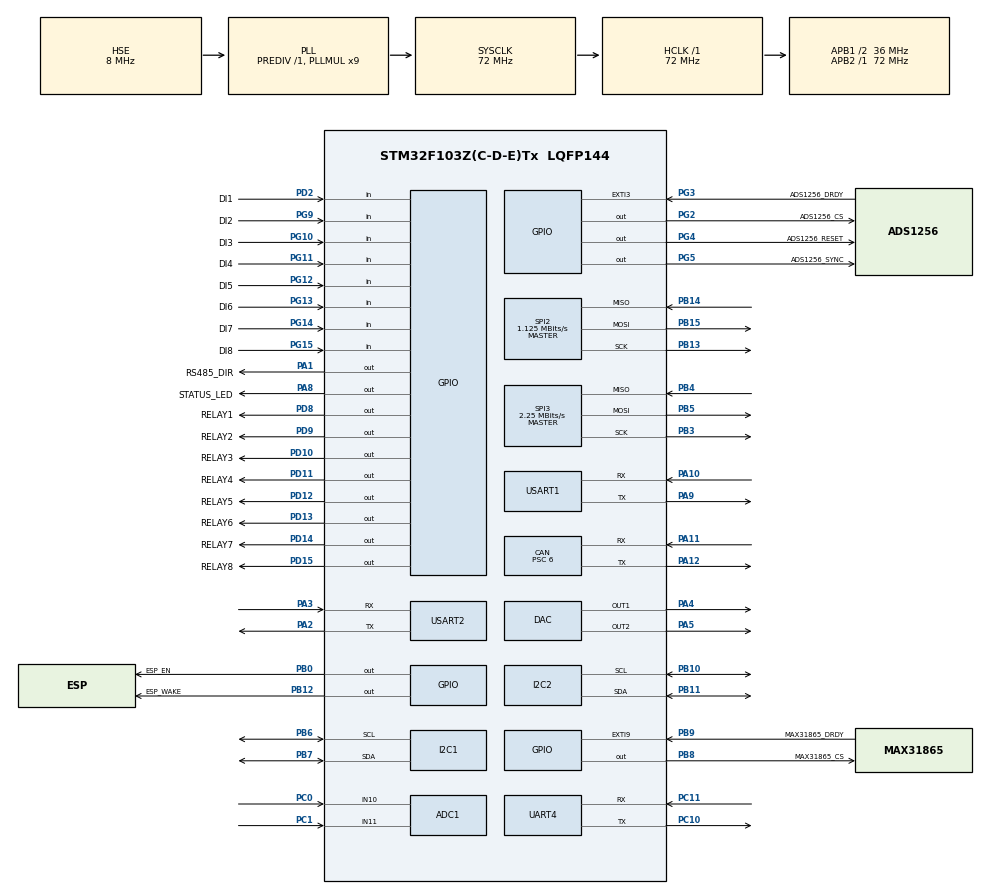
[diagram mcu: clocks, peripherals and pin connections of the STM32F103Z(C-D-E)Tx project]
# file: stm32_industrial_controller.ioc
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ADC1.Channel-0\#ChannelRegularConversion=ADC_CHANNEL_10
ADC1.Channel-1\#ChannelRegularConversion=ADC_CHANNEL_11
ADC1.ContinuousConvMode=ENABLE
ADC1.DiscontinuousConvMode=DISABLE
ADC1.NbrOfConversion=2
ADC1.NbrOfConversionFlag=1
ADC1.Rank-0\#ChannelRegularConversion=1
ADC1.Rank-1\#ChannelRegularConversion=2
ADC1.SamplingTime-0\#ChannelRegularConversion=ADC_SAMPLETIME_71CYCLES_5
ADC1.SamplingTime-1\#ChannelRegularConversion=ADC_SAMPLETIME_71CYCLES_5
ADC1.master=1
CAN.AutoRetransmission=ENABLE
CAN.BS1=CAN_BS1_9TQ
CAN.BS2=CAN_BS2_2TQ
CAN.CalculateBaudRate=499999
CAN.CalculateTimeBit=2000
CAN.CalculateTimeQuantum=166.66666666666669
CAN.Prescaler=6
CAN.SyncJumpWidth=CAN_SJW_1TQ
Dma.ADC1.0.Direction=DMA_PERIPH_TO_MEMORY
Dma.ADC1.0.Instance=DMA1_Channel1
Dma.ADC1.0.MemDataAlignment=DMA_MDATAALIGN_HALFWORD
Dma.ADC1.0.MemInc=DMA_MINC_ENABLE
Dma.ADC1.0.Mode=DMA_CIRCULAR
Dma.ADC1.0.PeriphDataAlignment=DMA_PDATAALIGN_HALFWORD
Dma.ADC1.0.PeriphInc=DMA_PINC_DISABLE
Dma.ADC1.0.Priority=DMA_PRIORITY_MEDIUM
Dma.Request0=ADC1
FREERTOS.Tasks01=appTask,24,256,StartAppTask,Default,NULL,Dynamic,NULL,NULL
IWDG.Prescaler=IWDG_PRESCALER_64
IWDG.Reload=2500
Mcu.Family=STM32F1
Mcu.Name=STM32F103Z(C-D-E)Tx
Mcu.Package=LQFP144
NVIC.CAN1_RX0_IRQn=true\:5\:0\:true\:false\:true\:true\:true\:true\:true
NVIC.DMA1_Channel1_IRQn=true\:5\:0\:false\:false\:true\:true\:false\:true\:true
NVIC.EXTI3_IRQn=true\:5\:0\:true\:false\:true\:true\:true\:true\:true
NVIC.EXTI9_5_IRQn=true\:5\:0\:true\:false\:true\:true\:true\:true\:true
NVIC.PriorityGroup=NVIC_PRIORITYGROUP_4
NVIC.TIM6_IRQn=true\:15\:0\:false\:false\:true\:false\:false\:true\:true
NVIC.TimeBase=TIM6_IRQn
NVIC.TimeBaseIP=TIM6
NVIC.UART4_IRQn=true\:5\:0\:true\:false\:true\:true\:true\:true\:true
NVIC.USART1_IRQn=true\:5\:0\:true\:false\:true\:true\:true\:true\:true
OSC_IN.Mode=HSE-External-Oscillator
OSC_IN.Signal=RCC_OSC_IN
OSC_OUT.Mode=HSE-External-Oscillator
OSC_OUT.Signal=RCC_OSC_OUT
PA1.GPIO_Label=RS485_DIR
PA1.GPIO_Speed=GPIO_SPEED_FREQ_HIGH
PA1.Signal=GPIO_Output
PA10.Mode=Asynchronous
PA10.Signal=USART1_RX
PA11.Mode=CAN_Activate
PA11.Signal=CAN_RX
PA12.Mode=CAN_Activate
PA12.Signal=CAN_TX
PA13.Mode=Serial_Wire
PA13.Signal=SYS_JTMS-SWDIO
PA14.Mode=Serial_Wire
PA14.Signal=SYS_JTCK-SWCLK
PA2.Mode=Asynchronous
PA2.Signal=USART2_TX
PA3.Mode=Asynchronous
PA3.Signal=USART2_RX
PA4.Signal=COMP_DAC1_group
PA5.Signal=COMP_DAC2_group
PA8.GPIO_Label=STATUS_LED
PA8.GPIO_Speed=GPIO_SPEED_FREQ_HIGH
PA8.Signal=GPIO_Output
PA9.Mode=Asynchronous
PA9.Signal=USART1_TX
PB0.GPIO_Label=ESP_EN
PB0.GPIO_Speed=GPIO_SPEED_FREQ_HIGH
PB0.PinState=GPIO_PIN_SET
PB0.Signal=GPIO_Output
PB10.Mode=I2C
PB10.Signal=I2C2_SCL
PB11.Mode=I2C
PB11.Signal=I2C2_SDA
PB12.GPIO_Label=ESP_WAKE
PB12.GPIO_Speed=GPIO_SPEED_FREQ_HIGH
PB12.Signal=GPIO_Output
PB13.Mode=Full_Duplex_Master
PB13.Signal=SPI2_SCK
PB14.Mode=Full_Duplex_Master
PB14.Signal=SPI2_MISO
PB15.Mode=Full_Duplex_Master
PB15.Signal=SPI2_MOSI
PB3.Mode=Full_Duplex_Master
PB3.Signal=SPI3_SCK
PB4.Mode=Full_Duplex_Master
PB4.Signal=SPI3_MISO
PB5.Mode=Full_Duplex_Master
PB5.Signal=SPI3_MOSI
PB6.Mode=I2C
PB6.Signal=I2C1_SCL
PB7.Mode=I2C
PB7.Signal=I2C1_SDA
PB8.GPIO_Label=MAX31865_CS
PB8.GPIO_Speed=GPIO_SPEED_FREQ_HIGH
PB8.PinState=GPIO_PIN_SET
PB8.Signal=GPIO_Output
PB9.GPIO_Label=MAX31865_DRDY
PB9.GPIO_ModeDefaultEXTI=GPIO_MODE_IT_FALLING
PB9.GPIO_PuPd=GPIO_PULLUP
PB9.Signal=GPXTI9
PC0.Signal=ADCx_IN10
PC1.Signal=ADCx_IN11
PC10.Mode=Asynchronous
PC10.Signal=UART4_TX
PC11.Mode=Asynchronous
PC11.Signal=UART4_RX
PC14-OSC32_IN.Mode=LSE-External-Oscillator
PC14-OSC32_IN.Signal=RCC_OSC32_IN
PC15-OSC32_OUT.Mode=LSE-External-Oscillator
PC15-OSC32_OUT.Signal=RCC_OSC32_OUT
PD10.GPIO_Label=RELAY3
PD10.GPIO_Speed=GPIO_SPEED_FREQ_HIGH
PD10.Signal=GPIO_Output
PD11.GPIO_Label=RELAY4
PD11.GPIO_Speed=GPIO_SPEED_FREQ_HIGH
PD11.Signal=GPIO_Output
PD12.GPIO_Label=RELAY5
PD12.GPIO_Speed=GPIO_SPEED_FREQ_HIGH
PD12.Signal=GPIO_Output
PD13.GPIO_Label=RELAY6
PD13.GPIO_Speed=GPIO_SPEED_FREQ_HIGH
PD13.Signal=GPIO_Output
PD14.GPIO_Label=RELAY7
PD14.GPIO_Speed=GPIO_SPEED_FREQ_HIGH
PD14.Signal=GPIO_Output
PD15.GPIO_Label=RELAY8
PD15.GPIO_Speed=GPIO_SPEED_FREQ_HIGH
PD15.Signal=GPIO_Output
PD2.GPIO_Label=DI1
PD2.GPIO_PuPd=GPIO_PULLUP
PD2.Signal=GPIO_Input
PD8.GPIO_Label=RELAY1
PD8.GPIO_Speed=GPIO_SPEED_FREQ_HIGH
PD8.Signal=GPIO_Output
PD9.GPIO_Label=RELAY2
PD9.GPIO_Speed=GPIO_SPEED_FREQ_HIGH
PD9.Signal=GPIO_Output
PG10.GPIO_Label=DI3
PG10.GPIO_PuPd=GPIO_PULLUP
PG10.Signal=GPIO_Input
PG11.GPIO_Label=DI4
PG11.GPIO_PuPd=GPIO_PULLUP
PG11.Signal=GPIO_Input
PG12.GPIO_Label=DI5
PG12.GPIO_PuPd=GPIO_PULLUP
PG12.Signal=GPIO_Input
PG13.GPIO_Label=DI6
PG13.GPIO_PuPd=GPIO_PULLUP
PG13.Signal=GPIO_Input
PG14.GPIO_Label=DI7
PG14.GPIO_PuPd=GPIO_PULLUP
PG14.Signal=GPIO_Input
PG15.GPIO_Label=DI8
PG15.GPIO_PuPd=GPIO_PULLUP
PG15.Signal=GPIO_Input
PG2.GPIO_Label=ADS1256_CS
PG2.GPIO_Speed=GPIO_SPEED_FREQ_HIGH
PG2.PinState=GPIO_PIN_SET
PG2.Signal=GPIO_Output
PG3.GPIO_Label=ADS1256_DRDY
PG3.GPIO_ModeDefaultEXTI=GPIO_MODE_IT_FALLING
PG3.GPIO_PuPd=GPIO_PULLUP
PG3.Signal=GPXTI3
PG4.GPIO_Label=ADS1256_RESET
PG4.GPIO_Speed=GPIO_SPEED_FREQ_HIGH
PG4.PinState=GPIO_PIN_SET
PG4.Signal=GPIO_Output
PG5.GPIO_Label=ADS1256_SYNC
PG5.GPIO_Speed=GPIO_SPEED_FREQ_HIGH
PG5.PinState=GPIO_PIN_SET
PG5.Signal=GPIO_Output
PG9.GPIO_Label=DI2
PG9.GPIO_PuPd=GPIO_PULLUP
PG9.Signal=GPIO_Input
ProjectManager.HeapSize=0x200
ProjectManager.StackSize=0x400
ProjectManager.TargetToolchain=MDK-ARM V5
RCC.ADCPresc=RCC_ADCPCLK2_DIV6
RCC.AHBFreq_Value=72000000
RCC.APB1CLKDivider=RCC_HCLK_DIV2
RCC.APB1Freq_Value=36000000
RCC.APB1TimFreq_Value=72000000
RCC.APB2Freq_Value=72000000
RCC.APB2TimFreq_Value=72000000
RCC.HCLKFreq_Value=72000000
RCC.PLLMUL=RCC_PLL_MUL9
RCC.PLLSourceVirtual=RCC_PLLSOURCE_HSE
RCC.SYSCLKFreq_VALUE=72000000
RCC.SYSCLKSource=RCC_SYSCLKSOURCE_PLLCLK
RCC.USBFreq_Value=72000000
SH.ADCx_IN10.0=ADC1_IN10,IN10
SH.ADCx_IN11.0=ADC1_IN11,IN11
SH.COMP_DAC1_group.0=DAC_OUT1,DAC_OUT1
SH.COMP_DAC2_group.0=DAC_OUT2,DAC_OUT2
SPI2.BaudRatePrescaler=SPI_BAUDRATEPRESCALER_32
SPI2.CalculateBaudRate=1.125 MBits/s
SPI2.Direction=SPI_DIRECTION_2LINES
SPI2.Mode=SPI_MODE_MASTER
SPI2.VirtualType=VM_MASTER
SPI3.BaudRatePrescaler=SPI_BAUDRATEPRESCALER_16
SPI3.CalculateBaudRate=2.25 MBits/s
SPI3.Direction=SPI_DIRECTION_2LINES
SPI3.Mode=SPI_MODE_MASTER
SPI3.VirtualType=VM_MASTER
UART4.VirtualMode=Asynchronous
USART1.RxDMA=USART1_RX
USART1.VirtualMode=VM_ASYNC
USART2.VirtualMode=VM_ASYNC
VP_FREERTOS_VS_CMSIS_V2.Mode=CMSIS_V2
VP_SYS_VS_tim6.Mode=TIM6
board=custom

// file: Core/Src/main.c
/* USER CODE BEGIN Header */
/**
  ******************************************************************************
  * @file           : main.c
  * @brief          : Main program body
  ******************************************************************************
  * @attention
  *
  * Copyright (c) 2026 STMicroelectronics.
  * All rights reserved.
  *
  * This software is licensed under terms that can be found in the LICENSE file
  * in the root directory of this software component.
  * If no LICENSE file comes with this software, it is provided AS-IS.
  *
  ******************************************************************************
  */
/* USER CODE END Header */
#include "main.h"
#include "cmsis_os.h"
#include "adc.h"
#include "can.h"
#include "dac.h"
#include "dma.h"
#include "i2c.h"
#include "spi.h"
#include "usart.h"
#include "gpio.h"
#include "stm32f1xx_hal_iwdg.h"

/* USER CODE BEGIN Includes */
#if defined(UART4_VALIDATION) || defined(UART1_VALIDATION)
#include <string.h>
#endif
/* USER CODE END Includes */

IWDG_HandleTypeDef hiwdg;

void SystemClock_Config(void);
void MX_FREERTOS_Init(void);
#if !defined(UART4_VALIDATION) && !defined(UART1_VALIDATION)
static void MX_IWDG_Init(void);
#endif

#if defined(UART4_VALIDATION) || defined(UART1_VALIDATION)
static void ValidationWrite(const char *text)
{
  if (text != 0)
  {
#ifdef UART4_VALIDATION
    (void)HAL_UART_Transmit(&huart4,
                            (uint8_t *)text,
                            (uint16_t)strlen(text),
                            100U);
#else
    (void)HAL_UART_Transmit(&huart1,
                            (uint8_t *)text,
                            (uint16_t)strlen(text),
                            100U);
#endif
  }
}
#endif

int main(void)
{
#if defined(UART4_VALIDATION) || defined(UART1_VALIDATION)
  char line[64];
  uint16_t line_length = 0U;
  uint32_t last_alive_tick = 0U;

  HAL_Init();
  SystemClock_Config();
  MX_GPIO_Init();
#ifdef UART4_VALIDATION
  MX_UART4_Init();
  MX_USART1_UART_Init();
#else
  MX_USART1_UART_Init();
#endif

#ifdef UART4_VALIDATION
  ValidationWrite("\r\nSTM32 UART4 validation\r\n");
#else
  ValidationWrite("\r\nSTM32 USART1 validation\r\n");
#endif

  for (;;)
  {
    uint8_t byte;

#ifdef UART4_VALIDATION
    if (HAL_UART_Receive(&huart4, &byte, 1U, 10U) == HAL_OK)
#else
    if (HAL_UART_Receive(&huart1, &byte, 1U, 10U) == HAL_OK)
#endif
    {
      if ((byte == '\r') || (byte == '\n'))
      {
        if (line_length > 0U)
        {
          line[line_length] = '\0';
          if (strcmp(line, "PING") == 0)
          {
            ValidationWrite("PONG\r\n");
          }
          line_length = 0U;
        }
      }
      else if (line_length < (sizeof(line) - 1U))
      {
        line[line_length++] = (char)byte;
      }
    }

    if ((HAL_GetTick() - last_alive_tick) >= 1000U)
    {
      last_alive_tick = HAL_GetTick();
      ValidationWrite("STM32_ALIVE\r\n");
      HAL_GPIO_TogglePin(STATUS_LED_GPIO_Port, STATUS_LED_Pin);
    }
  }
#else

  /* MCU Configuration--------------------------------------------------------*/

  /* Reset of all peripherals, Initializes the Flash interface and the Systick. */
  HAL_Init();

  /* Configure the system clock */
  SystemClock_Config();

  /* Initialize all configured peripherals */
  MX_GPIO_Init();
  MX_DMA_Init();
  MX_ADC1_Init();
  MX_CAN_Init();
  MX_DAC_Init();
  MX_I2C1_Init();
  MX_I2C2_Init();
  MX_SPI2_Init();
  MX_SPI3_Init();
  MX_UART4_Init();
  MX_USART1_UART_Init();
  MX_USART2_UART_Init();
  MX_IWDG_Init();

  /* Init scheduler */
  osKernelInitialize();

  /* Call init function for freertos objects (in freertos.c) */
  MX_FREERTOS_Init();

  /* Start scheduler */
  osKernelStart();

  /* We should never get here as control is now taken by the scheduler */
  /* Infinite loop */
  while (1)
  {

  }
#endif
}

void SystemClock_Config(void)
{
  RCC_OscInitTypeDef RCC_OscInitStruct = {0};
  RCC_ClkInitTypeDef RCC_ClkInitStruct = {0};
  RCC_PeriphCLKInitTypeDef PeriphClkInit = {0};

  /** Initializes the RCC Oscillators according to the specified parameters
  * in the RCC_OscInitTypeDef structure.
  */
  RCC_OscInitStruct.OscillatorType = RCC_OSCILLATORTYPE_HSE;
  RCC_OscInitStruct.HSEState = RCC_HSE_ON;
  RCC_OscInitStruct.HSEPredivValue = RCC_HSE_PREDIV_DIV1;
  RCC_OscInitStruct.HSIState = RCC_HSI_ON;
  RCC_OscInitStruct.PLL.PLLState = RCC_PLL_ON;
  RCC_OscInitStruct.PLL.PLLSource = RCC_PLLSOURCE_HSE;
  RCC_OscInitStruct.PLL.PLLMUL = RCC_PLL_MUL9;
  if (HAL_RCC_OscConfig(&RCC_OscInitStruct) != HAL_OK)
  {
    Error_Handler();
  }

  /** Initializes the CPU, AHB and APB buses clocks
  */
  RCC_ClkInitStruct.ClockType = RCC_CLOCKTYPE_HCLK|RCC_CLOCKTYPE_SYSCLK
                              |RCC_CLOCKTYPE_PCLK1|RCC_CLOCKTYPE_PCLK2;
  RCC_ClkInitStruct.SYSCLKSource = RCC_SYSCLKSOURCE_PLLCLK;
  RCC_ClkInitStruct.AHBCLKDivider = RCC_SYSCLK_DIV1;
  RCC_ClkInitStruct.APB1CLKDivider = RCC_HCLK_DIV2;
  RCC_ClkInitStruct.APB2CLKDivider = RCC_HCLK_DIV1;

  if (HAL_RCC_ClockConfig(&RCC_ClkInitStruct, FLASH_LATENCY_2) != HAL_OK)
  {
    Error_Handler();
  }
  PeriphClkInit.PeriphClockSelection = RCC_PERIPHCLK_ADC;
  PeriphClkInit.AdcClockSelection = RCC_ADCPCLK2_DIV6;
  if (HAL_RCCEx_PeriphCLKConfig(&PeriphClkInit) != HAL_OK)
  {
    Error_Handler();
  }
}

/* USER CODE BEGIN 4 */

#if !defined(UART4_VALIDATION) && !defined(UART1_VALIDATION)
static void MX_IWDG_Init(void)
{
  hiwdg.Instance = IWDG;
  hiwdg.Init.Prescaler = IWDG_PRESCALER_64;
  hiwdg.Init.Reload = 2500;
  if (HAL_IWDG_Init(&hiwdg) != HAL_OK)
  {
    Error_Handler();
  }
}
#endif

/* USER CODE END 4 */

void HAL_TIM_PeriodElapsedCallback(TIM_HandleTypeDef *htim)
{
  if (htim->Instance == TIM6) {
    HAL_IncTick();
  }
}

void Error_Handler(void)
{
  __disable_irq();
  while (1)
  {
  }
}

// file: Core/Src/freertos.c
/* USER CODE BEGIN Header */
/**
  ******************************************************************************
  * File Name          : freertos.c
  * Description        : Code for freertos applications
  ******************************************************************************
  * @attention
  *
  * Copyright (c) 2026 STMicroelectronics.
  * All rights reserved.
  *
  * This software is licensed under terms that can be found in the LICENSE file
  * in the root directory of this software component.
  * If no LICENSE file comes with this software, it is provided AS-IS.
  *
  ******************************************************************************
  */
/* USER CODE END Header */

#include "FreeRTOS.h"
#include "task.h"
#include "main.h"
#include "cmsis_os.h"

/* USER CODE BEGIN Includes */
#include "app.h"
/* USER CODE END Includes */

/* Definitions for appTask */
osThreadId_t appTaskHandle;
const osThreadAttr_t appTask_attributes = {
  .name = "appTask",
  .stack_size = 256 * 4,
  .priority = (osPriority_t) osPriorityNormal,
};

void StartAppTask(void *argument);

void MX_FREERTOS_Init(void); /* (MISRA C 2004 rule 8.1) */

void MX_FREERTOS_Init(void) {

  /* Create the thread(s) */
  /* creation of appTask */
  appTaskHandle = osThreadNew(StartAppTask, NULL, &appTask_attributes);

}

void StartAppTask(void *argument)
{
  /* USER CODE BEGIN StartAppTask */
  App_Init();
  App_CreateTasks();

  osThreadExit();
  /* USER CODE END StartAppTask */
}
